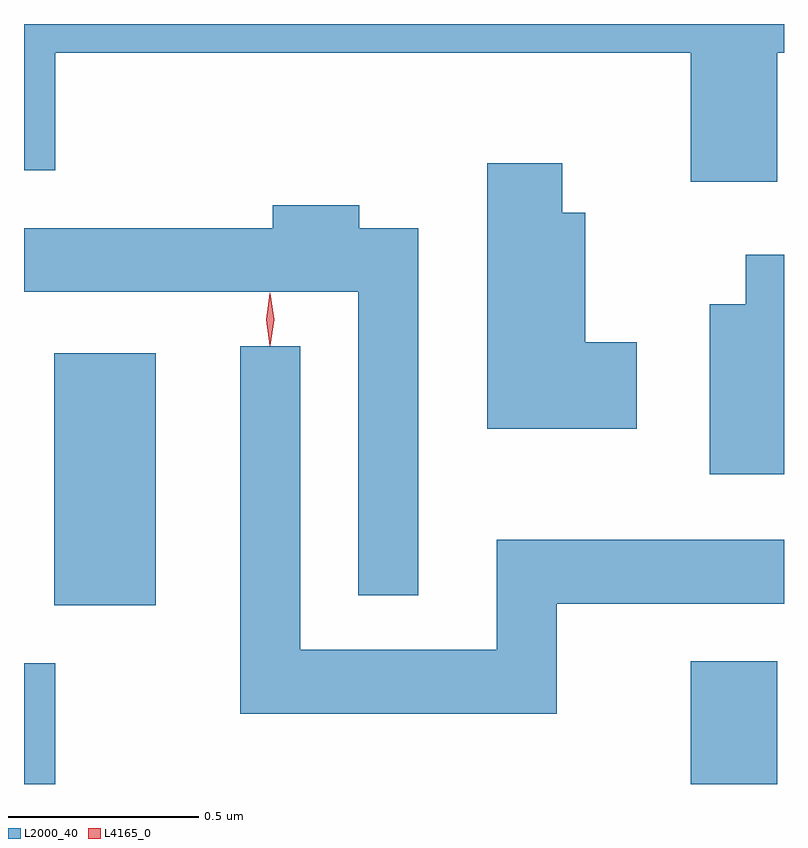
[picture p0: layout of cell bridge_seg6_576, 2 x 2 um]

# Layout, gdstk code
import gdstk
lib = gdstk.Library(unit=1e-6, precision=1e-09)
def R(c, l, rs):  # rectangles x0, y0, x1, y1
    for r in rs: c.add(gdstk.rectangle(r[:2], r[2:], *l))
def P(c, l, *ps):  # polygons
    for p in ps: c.add(gdstk.Polygon(p, *l))
L2000_40 = (2000, 40)
L4165_0 = (4165, 0)

bridge_seg6_576 = lib.new_cell('bridge_seg6_576')
R(bridge_seg6_576, L2000_40, [(411.657,1665.771,411.739,1666.089), (413.411,1665.771,413.639,1666.094), (411.736,1666.241,412.004,1666.904)])
P(bridge_seg6_576, L2000_40, [(413.639,1667.696),(413.657,1667.696),(413.657,1667.771),(411.657,1667.771),(411.657,1667.386),(411.739,1667.386),(411.739,1667.696),(413.411,1667.696),(413.411,1667.356),(413.639,1667.356)],
  [(413.269,1666.934),(413.134,1666.934),(413.134,1667.274),(413.074,1667.274),(413.074,1667.404),(412.876,1667.404),(412.876,1666.706),(413.269,1666.706)],
  [(412.694,1667.234),(412.539,1667.234),(412.539,1667.294),(412.311,1667.294),(412.311,1667.234),(411.657,1667.234),(411.657,1667.066),(412.536,1667.066),(412.536,1666.268),(412.694,1666.268)],
  [(413.657,1667.164),(413.556,1667.164),(413.556,1667.034),(413.461,1667.034),(413.461,1666.586),(413.657,1666.586)],
  [(413.059,1666.246),(413.657,1666.246),(413.657,1666.414),(412.901,1666.414),(412.901,1666.124),(412.384,1666.124),(412.384,1666.923),(412.226,1666.923),(412.226,1665.956),(413.059,1665.956)])
P(bridge_seg6_576, L4165_0, [(412.304,1666.927),(412.295,1666.994),(412.304,1667.06),(412.305,1667.06),(412.305,1667.06),(412.315,1666.994),(412.305,1666.927),(412.305,1666.927)],
  [(412.304,1666.924),(412.295,1666.993),(412.304,1667.062),(412.305,1667.063),(412.305,1667.062),(412.315,1666.993),(412.305,1666.924),(412.305,1666.924)])

lib.write_gds('bridge_seg6_576.gds')
